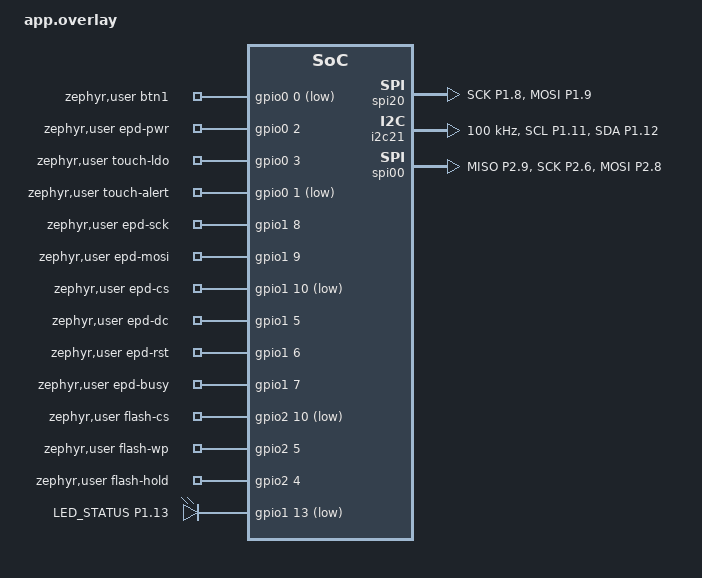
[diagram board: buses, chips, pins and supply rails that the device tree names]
/*
 * ink_panel — EVT netlist (Netlist_Schematic1_2026-11-05)
 *
 * UART00: 与 spi00 互斥；NOR 占 SERIAL00 时关掉（日志走 RTT）
 * EPD:    SPIM20 SCK=P1.08 MOSI=P1.09；CS=P1.10 软件拉；DC/RST/BUSY GPIO；无 MISO
 * I2C21:  SCL=P1.11 SDA=P1.12 (nPM1300 + CAP1203)
 * NOR:    SPIM00 SCK=P2.06 MOSI=P2.08 MISO=P2.09；CS=P2.10 软件拉；WP=P2.05 HOLD=P2.04
 *         （P2 属 SERIAL00；spi21 与 i2c21 互斥；勿把 MISO 放进 E0E1 组）
 * LED0:   P1.13 ACTIVE_LOW   (LED_STATUS_N)
 * BTN1:   P0.00 ACTIVE_LOW   (BTN_USER_N); no BTN2 (P0.01 = TOUCH_ALERT)
 *
 * Must disable DK leftovers: button0 shares P1.13 with LED; button1/2 on
 * P1.09/P1.08；pwm20 on P1.10；mx25r64（DK 片上 NOR，EVT 无）。
 */

#include <zephyr/dt-bindings/gpio/gpio.h>
#include <zephyr/dt-bindings/i2c/i2c.h>
#include <zephyr/dt-bindings/pinctrl/nrf-pinctrl.h>

&pinctrl {
	uart00_default: uart00_default {
		group1 {
			/* QFN48 dedicated: UARTE TXD = P2.02 (not P2.01) */
			psels = <NRF_PSEL(UART_TX, 2, 2)>;
		};
		group2 {
			/* QFN48 dedicated: UARTE RXD = P2.00 */
			psels = <NRF_PSEL(UART_RX, 2, 0)>;
			bias-pull-up;
		};
	};

	uart00_sleep: uart00_sleep {
		group1 {
			psels = <NRF_PSEL(UART_TX, 2, 2)>,
				<NRF_PSEL(UART_RX, 2, 0)>;
			low-power-enable;
		};
	};

	/* EVT I²C → nPM1300 (+ CAP1203)；SCL=P1.11 SDA=P1.12；外置 4.7k 上拉 */
	i2c21_default: i2c21_default {
		group1 {
			psels = <NRF_PSEL(TWIM_SCL, 1, 11)>,
				<NRF_PSEL(TWIM_SDA, 1, 12)>;
		};
	};

	i2c21_sleep: i2c21_sleep {
		group1 {
			psels = <NRF_PSEL(TWIM_SCL, 1, 11)>,
				<NRF_PSEL(TWIM_SDA, 1, 12)>;
			low-power-enable;
		};
	};

	/* EPD SPIM20：SCK 必须 Clock pin P1.08；TX-only 不绑 MISO */
	spi20_default: spi20_default {
		group1 {
			psels = <NRF_PSEL(SPIM_SCK, 1, 8)>,
				<NRF_PSEL(SPIM_MOSI, 1, 9)>;
			nordic,drive-mode = <NRF_DRIVE_E0E1>;
		};
	};

	spi20_sleep: spi20_sleep {
		group1 {
			psels = <NRF_PSEL(SPIM_SCK, 1, 8)>,
				<NRF_PSEL(SPIM_MOSI, 1, 9)>;
			low-power-enable;
		};
	};

	/*
	 * W25Q64 on SPIM00（P2 clock pin P2.06）。
	 * MISO 单独一组、不加 E0E1——输入脚不可与 SCK/MOSI 同 drive-mode。
	 */
	spi00_nor_default: spi00_nor_default {
		group1 {
			psels = <NRF_PSEL(SPIM_MISO, 2, 9)>;
		};
		group2 {
			psels = <NRF_PSEL(SPIM_SCK, 2, 6)>,
				<NRF_PSEL(SPIM_MOSI, 2, 8)>;
			nordic,drive-mode = <NRF_DRIVE_E0E1>;
		};
	};

	spi00_nor_sleep: spi00_nor_sleep {
		group1 {
			psels = <NRF_PSEL(SPIM_SCK, 2, 6)>,
				<NRF_PSEL(SPIM_MISO, 2, 9)>,
				<NRF_PSEL(SPIM_MOSI, 2, 8)>;
			low-power-enable;
		};
	};

};

/* SERIAL00：NOR 用 spi00，必须关 uart00（与 spi00 互斥）；日志走 RTT */
&uart00 {
	status = "disabled";
};

&uart20 {
	status = "disabled";
};

&spi20 {
	status = "okay";
	compatible = "nordic,nrf-spim";
	pinctrl-0 = <&spi20_default>;
	pinctrl-1 = <&spi20_sleep>;
	pinctrl-names = "default", "sleep";
	/* CS=P1.10 由 epd_board 软件控制，不挂 cs-gpios */
};

&i2c21 {
	status = "okay";
	compatible = "nordic,nrf-twim";
	clock-frequency = <I2C_BITRATE_STANDARD>;
	pinctrl-0 = <&i2c21_default>;
	pinctrl-1 = <&i2c21_sleep>;
	pinctrl-names = "default", "sleep";
};

&pwm20 {
	status = "disabled";
};

&pwm_led1 {
	status = "disabled";
};

/* DK buttons: button0 == P1.13 == our LED — must all be off */
&button0 {
	status = "disabled";
};

&button1 {
	status = "disabled";
};

&button2 {
	status = "disabled";
};

&button3 {
	status = "disabled";
};

&led0 {
	gpios = <&gpio1 13 GPIO_ACTIVE_LOW>;
	label = "LED_STATUS P1.13";
};

&led1 {
	status = "disabled";
};

&led2 {
	status = "disabled";
};

&led3 {
	status = "disabled";
};

/* 冒烟轮关掉 NFCT；开 NFC 时再 okay */
&nfct {
	status = "disabled";
};

/* EVT 外挂 W25Q64：占 SERIAL00；CS 由 w25q_board 软件拉 */
&spi00 {
	status = "okay";
	compatible = "nordic,nrf-spim";
	pinctrl-0 = <&spi00_nor_default>;
	pinctrl-1 = <&spi00_nor_sleep>;
	pinctrl-names = "default", "sleep";
};

/* DK 片上 MX25 — EVT 无此器件 */
&mx25r64 {
	status = "disabled";
};

/* 临时关外部晶振（排查无灯效）；恢复射频时再 okay + 负载电容 */
&hfxo {
	status = "disabled";
};

&lfxo {
	status = "disabled";
};

&gpio0 {
	status = "okay";
};

&gpio1 {
	status = "okay";
};

&gpio2 {
	status = "okay";
};

/ {
	/* 控制台走 RTT；uart00 已让给 spi00 */
	chosen {
		/delete-property/ zephyr,console;
		/delete-property/ zephyr,shell-uart;
	};

	zephyr,user {
		btn1-gpios = <&gpio0 0 (GPIO_ACTIVE_LOW | GPIO_PULL_UP)>;
		/* EVT: EPD_PWR_EN→LS2；TOUCH_LDO_EN→LDO1；ALERT# OD 低有效 */
		epd-pwr-gpios = <&gpio0 2 GPIO_ACTIVE_HIGH>;
		touch-ldo-gpios = <&gpio0 3 GPIO_ACTIVE_HIGH>;
		touch-alert-gpios = <&gpio0 1 (GPIO_ACTIVE_LOW | GPIO_PULL_UP)>;
		/* EPD：CS/DC/RST/BUSY GPIO；SCK/MOSI 供 bitbang 回退（SPIM 关时） */
		epd-sck-gpios = <&gpio1 8 GPIO_ACTIVE_HIGH>;
		epd-mosi-gpios = <&gpio1 9 GPIO_ACTIVE_HIGH>;
		epd-cs-gpios = <&gpio1 10 GPIO_ACTIVE_LOW>;
		epd-dc-gpios = <&gpio1 5 GPIO_ACTIVE_HIGH>;
		epd-rst-gpios = <&gpio1 6 GPIO_ACTIVE_HIGH>;
		/* 对齐 eink_tag：BUSY 内部上拉；无面板时也应读到高 */
		epd-busy-gpios = <&gpio1 7 (GPIO_ACTIVE_HIGH | GPIO_PULL_UP)>;
		/* W25Q64：CS 软件；WP/HOLD 驱高（板载 15k 上拉兜底） */
		flash-cs-gpios = <&gpio2 10 GPIO_ACTIVE_LOW>;
		flash-wp-gpios = <&gpio2 5 GPIO_ACTIVE_HIGH>;
		flash-hold-gpios = <&gpio2 4 GPIO_ACTIVE_HIGH>;
	};
};
